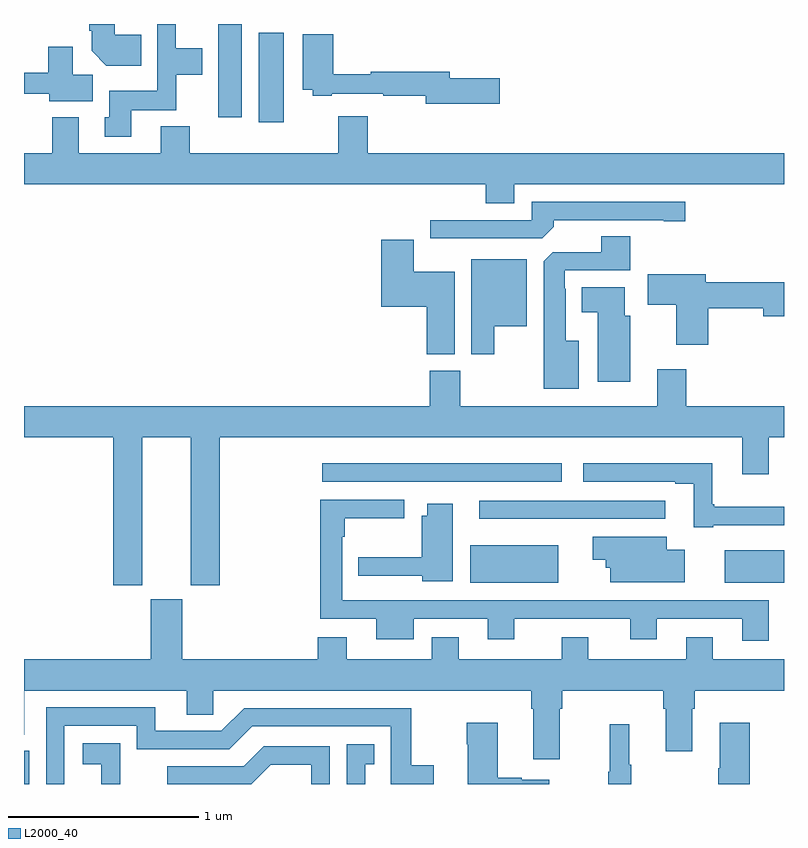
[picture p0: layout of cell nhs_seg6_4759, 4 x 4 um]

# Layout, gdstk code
import gdstk
lib = gdstk.Library(unit=1e-6, precision=1e-09)
def R(c, l, rs):  # rectangles x0, y0, x1, y1
    for r in rs: c.add(gdstk.rectangle(r[:2], r[2:], *l))
def P(c, l, *ps):  # polygons
    for p in ps: c.add(gdstk.Polygon(p, *l))
L2000_40 = (2000, 40)

nhs_seg6_4759 = lib.new_cell('nhs_seg6_4759')
R(nhs_seg6_4759, L2000_40, [(393,957.5,393.027,957.675), (395.348,958.559,395.812,958.756), (396.689,958.559,397,958.729), (394.569,959.091,395.83,959.188), (394.235,960.984,394.366,961.453), (394.022,961.008,394.147,961.5)])
P(nhs_seg6_4759, L2000_40, [(393.565,961.046),(393.801,961.046),(393.801,961.232),(393.937,961.232),(393.937,961.372),(393.798,961.372),(393.798,961.5),(393.702,961.5),(393.702,961.15),(393.449,961.15),(393.449,961.008),(393.425,961.008),(393.425,960.906),(393.565,960.906)],
  [(393.617,961.444),(393.478,961.444),(393.478,961.5),(393.344,961.5),(393.344,961.465),(393.356,961.465),(393.356,961.358),(393.434,961.28),(393.617,961.28)],
  [(395.503,961.214),(395.242,961.214),(395.242,961.25),(394.826,961.25),(394.826,961.235),(394.628,961.235),(394.628,961.447),(394.466,961.447),(394.466,961.154),(394.521,961.154),(394.521,961.122),(394.621,961.122),(394.621,961.134),(394.891,961.134),(394.891,961.122),(395.114,961.122),(395.114,961.079),(395.503,961.079)],
  [(393.361,961.232),(393.256,961.232),(393.256,961.381),(393.127,961.381),(393.127,961.243),(393,961.243),(393,961.134),(393.134,961.134),(393.134,961.094),(393.361,961.094)],
  [(395.581,960.656),(397,960.656),(397,960.82),(394.808,960.82),(394.808,961.015),(394.655,961.015),(394.655,960.82),(393.872,960.82),(393.872,960.961),(393.719,960.961),(393.719,960.82),(393.289,960.82),(393.289,961.009),(393.149,961.009),(393.149,960.82),(393,960.82),(393,960.656),(395.429,960.656),(395.429,960.557),(395.581,960.557)],
  [(395.789,960.434),(395.789,960.468),(396.368,960.468),(396.368,960.463),(396.481,960.463),(396.481,960.564),(395.673,960.564),(395.673,960.468),(395.139,960.468),(395.139,960.372),(395.727,960.372)],
  [(395.92,959.833),(395.851,959.833),(395.851,960.107),(395.847,960.107),(395.847,960.204),(396.191,960.204),(396.191,960.383),(396.038,960.383),(396.038,960.3),(395.784,960.3),(395.735,960.251),(395.735,959.579),(395.92,959.579)],
  [(395.266,960.196),(395.05,960.196),(395.05,960.364),(394.88,960.364),(394.88,960.011),(395.12,960.011),(395.12,959.761),(395.266,959.761)],
  [(395.476,959.909),(395.647,959.909),(395.647,960.262),(395.354,960.262),(395.354,959.763),(395.476,959.763)],
  [(396.602,960.004),(396.89,960.004),(396.89,959.962),(397,959.962),(397,960.14),(396.589,960.14),(396.589,960.184),(396.282,960.184),(396.282,960.022),(396.434,960.022),(396.434,959.811),(396.602,959.811)],
  [(396.19,959.964),(396.163,959.964),(396.163,960.115),(395.936,960.115),(395.936,959.984),(396.02,959.984),(396.02,959.616),(396.19,959.616)],
  [(393.622,959.324),(393.878,959.324),(393.878,958.545),(394.031,958.545),(394.031,959.324),(396.779,959.324),(396.779,959.13),(396.919,959.13),(396.919,959.324),(397,959.324),(397,959.488),(396.485,959.488),(396.485,959.683),(396.332,959.683),(396.332,959.488),(395.295,959.488),(395.295,959.676),(395.135,959.676),(395.135,959.488),(393,959.488),(393,959.324),(393.47,959.324),(393.47,958.545),(393.622,958.545)],
  [(396.628,958.862),(397,958.862),(397,958.96),(396.634,958.96),(396.634,958.972),(396.622,958.972),(396.622,959.188),(395.943,959.188),(395.943,959.091),(396.428,959.091),(396.428,959.079),(396.524,959.079),(396.524,958.851),(396.628,958.851)],
  [(396.919,958.467),(394.674,958.467),(394.674,958.802),(394.687,958.802),(394.687,958.898),(395.002,958.898),(395.002,958.995),(394.558,958.995),(394.558,958.371),(394.853,958.371),(394.853,958.262),(395.05,958.262),(395.05,958.371),(395.441,958.371),(395.441,958.262),(395.581,958.262),(395.581,958.371),(396.191,958.371),(396.191,958.262),(396.331,958.262),(396.331,958.371),(396.779,958.371),(396.779,958.254),(396.919,958.254)],
  [(395.808,958.896),(396.376,958.896),(396.376,958.992),(395.397,958.992),(395.397,958.895),(395.808,958.895)],
  [(395.257,958.975),(395.123,958.975),(395.123,958.912),(395.093,958.912),(395.093,958.694),(394.759,958.694),(394.759,958.596),(395.097,958.596),(395.097,958.568),(395.257,958.568)],
  [(396.478,958.732),(396.382,958.732),(396.382,958.801),(395.994,958.801),(395.994,958.679),(396.062,958.679),(396.062,958.638),(396.086,958.638),(396.086,958.562),(396.478,958.562)],
  [(396.365,957.896),(396.377,957.896),(396.377,957.672),(396.517,957.672),(396.517,957.896),(396.53,957.896),(396.53,957.992),(397,957.992),(397,958.156),(396.625,958.156),(396.625,958.273),(396.485,958.273),(396.485,958.156),(395.971,958.156),(395.971,958.273),(395.831,958.273),(395.831,958.156),(395.287,958.156),(395.287,958.273),(395.147,958.273),(395.147,958.156),(394.699,958.156),(394.699,958.273),(394.547,958.273),(394.547,958.156),(393.832,958.156),(393.832,958.473),(393.668,958.473),(393.668,958.156),(393,958.156),(393,957.76),(393.001,957.76),(393.001,957.992),(393.857,957.992),(393.857,957.865),(393.996,957.865),(393.996,957.992),(395.669,957.992),(395.669,957.896),(395.681,957.896),(395.681,957.63),(395.821,957.63),(395.821,957.896),(395.834,957.896),(395.834,957.992),(396.365,957.992)],
  [(393.213,957.807),(393.594,957.807),(393.594,957.684),(394.08,957.684),(394.2,957.804),(394.929,957.804),(394.929,957.5),(395.156,957.5),(395.156,957.598),(395.038,957.598),(395.038,957.9),(394.158,957.9),(394.038,957.78),(393.691,957.78),(393.691,957.903),(393.117,957.903),(393.117,957.5),(393.213,957.5)],
  [(396.821,957.823),(396.662,957.823),(396.662,957.584),(396.655,957.584),(396.655,957.5),(396.821,957.5)],
  [(395.764,957.523),(395.621,957.523),(395.621,957.533),(395.494,957.533),(395.494,957.823),(395.329,957.823),(395.329,957.71),(395.336,957.71),(395.336,957.5),(395.764,957.5)],
  [(396.196,957.601),(396.185,957.601),(396.185,957.814),(396.082,957.814),(396.082,957.564),(396.075,957.564),(396.075,957.5),(396.196,957.5)],
  [(393.506,957.509),(393.507,957.509),(393.507,957.715),(393.309,957.715),(393.309,957.605),(393.407,957.605),(393.407,957.5),(393.506,957.5)],
  [(394.795,957.603),(394.844,957.603),(394.844,957.709),(394.698,957.709),(394.698,957.5),(394.795,957.5)],
  [(394.298,957.602),(394.512,957.602),(394.512,957.5),(394.608,957.5),(394.608,957.699),(394.262,957.699),(394.157,957.594),(393.754,957.594),(393.754,957.5),(394.196,957.5)])

lib.write_gds('nhs_seg6_4759.gds')
